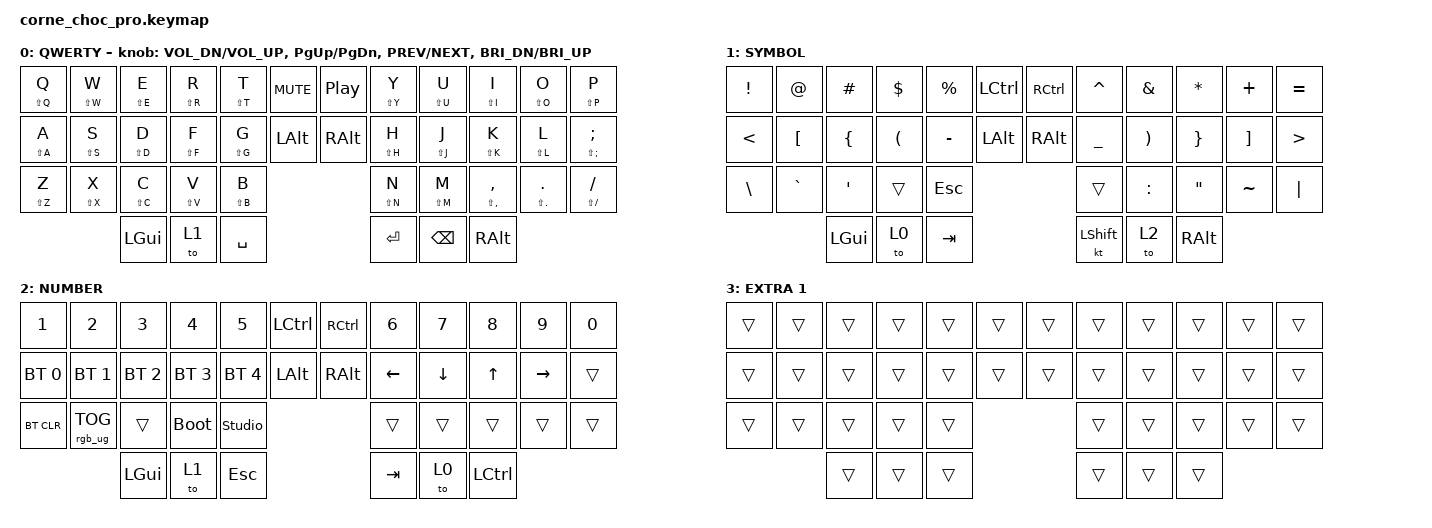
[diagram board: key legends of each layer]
/*
 * Copyright (c) 2020 The ZMK Contributors
 *
 * SPDX-License-Identifier: MIT
 */

#include <behaviors.dtsi>
#include <dt-bindings/zmk/bt.h>
#include <dt-bindings/zmk/keys.h>
#include <dt-bindings/zmk/rgb.h>

&mt {
    flavor = "tap-preferred";
    tapping-term-ms = <300>;
};

/ {
    chosen { zmk,physical-layout = &five_col_layout; };
};

/ {
    behaviors {
        hold_for_caps: hold_for_caps {
            compatible = "zmk,behavior-hold-tap";
            label = "HOLD_FOR_CAPS";
            bindings = <&custom_sticky>, <&kp>;

            #binding-cells = <2>;
            tapping-term-ms = <200>;
            flavor = "tap-preferred";
        };

        custom_sticky: custom_sticky {
            compatible = "zmk,behavior-sticky-key";
            label = "CUSTOM_STICKY";
            bindings = <&caps_word>;
            #binding-cells = <1>;
            release-after-ms = <250>;
        };
    };

    keymap {
        compatible = "zmk,keymap";

        default_layer {
            display-name = "QWERTY";

            // ------------------------------------------------------------------------------
            // |  Q  |  W  |  E  |  R  |  T  |  MUTE |  PP   |  Y  |  U   |  I  |  O  |  P  |
            // |  A  |  S  |  D  |  F  |  G  |  LALT |  RALT |  H  |  J   |  K  |  L  |  ;  |
            // |  Z  |  X  |  C  |  V  |  B  |               |  N  |  M   |  ,  |  .  |  /  |
            //                    | GUI | LWR | SPC |               | ENT | RSE  | ALT |

            bindings = <
  &mt LS(Q) Q  &mt LS(W) W  &mt LS(E) E  &mt LS(R) R  &mt LS(T) T  &kp C_MUTE  &kp C_PP  &mt LS(Y) Y  &mt LS(U) U    &mt LS(I) I          &mt LS(O) O            &mt LS(P) P
  &mt LS(A) A  &mt LS(S) S  &mt LS(D) D  &mt LS(F) F  &mt LS(G) G  &kp LALT    &kp RALT  &mt LS(H) H  &mt LS(J) J    &mt LS(K) K          &mt LS(L) L            &mt LS(SEMICOLON) SEMICOLON
  &mt LS(Z) Z  &mt LS(X) X  &mt LS(C) C  &mt LS(V) V  &mt LS(B) B                        &mt LS(N) N  &mt LS(M) M    &mt LS(COMMA) COMMA  &mt LS(PERIOD) PERIOD  &mt LS(SLASH) SLASH
                            &kp LGUI     &to 1        &kp SPACE                          &kp RET      &kp BACKSPACE  &kp RALT
            >;

            sensor-bindings = <&inc_dec_kp C_VOL_DN C_VOL_UP &inc_dec_kp PG_UP PG_DN &inc_dec_kp C_PREV C_NEXT &inc_dec_kp C_BRI_DN C_BRI_UP>;
        };

        raise_layer {
            display-name = "SYMBOL";

            // -----------------------------------------------------------------------------
            // |  !  |  @  |  #  |  $  |  %  | LCTRL | RCTRL |  ^  |  &  |  *  |  (  |  )  |
            // |     |     |     |     |     |  LALT | RALT  |  -  |  =  |  [  |  ]  |  \  |
            // |     |     |     |     |     |               |  _  |  +  |  {  |  }  | "|" |
            //                    | GUI |     | SPC |               | ENT |     | ALT |

            bindings = <
  &kp EXCL       &kp AT            &kp HASH          &kp DLLR              &kp PRCNT  &kp LCTRL  &kp RCTRL  &kp CARET       &kp AMPS               &kp ASTRK          &kp PLUS   &kp EQUAL
  &kp LESS_THAN  &kp LEFT_BRACKET  &kp LEFT_BRACE    &kp LEFT_PARENTHESIS  &kp MINUS  &kp LALT   &kp RALT   &kp UNDERSCORE  &kp RIGHT_PARENTHESIS  &kp RIGHT_BRACE    &kp RBKT   &kp GREATER_THAN
  &kp BACKSLASH  &kp GRAVE         &kp SINGLE_QUOTE  &trans                &kp ESC                          &trans          &kp COLON              &kp DOUBLE_QUOTES  &kp TILDE  &kp PIPE
                                   &kp LGUI          &to 0                 &kp TAB                          &kt LEFT_SHIFT  &to 2                  &kp RALT
            >;
        };

        lower_layer {
            display-name = "NUMBER";

            // --------------------------------------------------------------------------------
            // |  1  |  2  |  3  |  4  |  5    |  LCTRL | RCTRL |  6  |  7  |  8  |  9  |  0  |
            // | BT1 | BT2 | BT3 | BT4 | BT5   |  LALT  | RALT  | LFT | DWN |  UP | RGT |     |
            // | BTCR| RGB | RST | BOOT| Unlock|        |       |     |     |     |     |     |
            //                    | GUI |     | SPC   |        | ENT   |     | ALT |

            bindings = <
  &kp N1        &kp N2           &kp N3        &kp N4        &kp N5          &kp LCTRL  &kp RCTRL  &kp N6    &kp N7    &kp N8            &kp N9     &kp N0
  &bt BT_SEL 0  &bt BT_SEL 1     &bt BT_SEL 2  &bt BT_SEL 3  &bt BT_SEL 4    &kp LALT   &kp RALT   &kp LEFT  &kp DOWN  &kp UP            &kp RIGHT  &trans
  &bt BT_CLR    &rgb_ug RGB_TOG  &trans        &bootloader   &studio_unlock                        &trans    &trans    &trans            &trans     &trans
                                 &kp LGUI      &to 1         &kp ESCAPE                            &kp TAB   &to 0     &kp LEFT_CONTROL
            >;
        };

        extra_layer_1 {
            display-name = "EXTRA 1";
            bindings = <
  &trans  &trans  &trans  &trans  &trans  &trans  &trans  &trans  &trans  &trans  &trans  &trans
  &trans  &trans  &trans  &trans  &trans  &trans  &trans  &trans  &trans  &trans  &trans  &trans
  &trans  &trans  &trans  &trans  &trans                  &trans  &trans  &trans  &trans  &trans
                  &trans  &trans  &trans                  &trans  &trans  &trans
            >;
        };
    };
};
